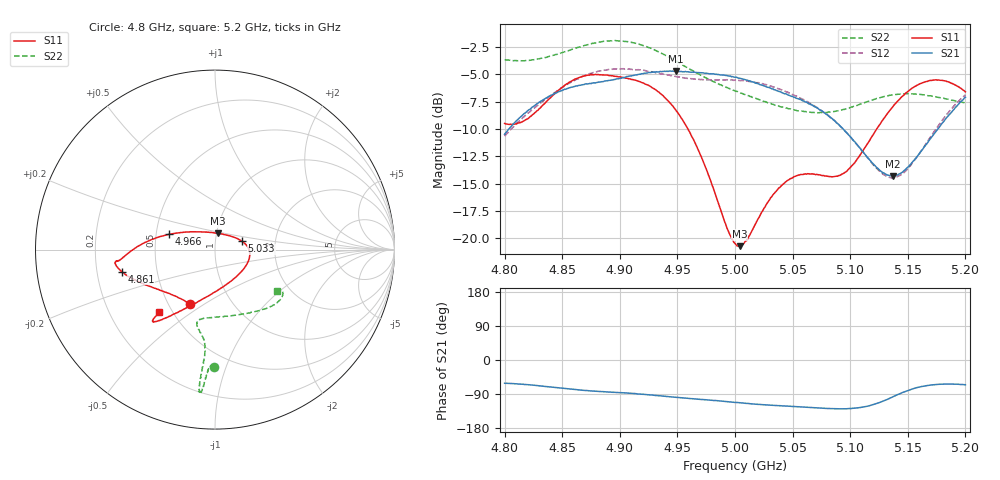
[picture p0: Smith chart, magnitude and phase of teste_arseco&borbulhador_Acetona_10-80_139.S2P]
! Network Analyzer HP8722D
! Hewlett-Packard
! Data name: Linha & Wilkinson
! Saver's name: Rodrigo Anjos
! Comments: Teste da utilização de aquisição
! continua pelo VNA HP8722D
! Time and date: 17/4/2025 15:31
!  Frequency  S11  S21  S12  S22
# HZ  S  MA R 50
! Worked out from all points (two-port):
!   401 points, 4.8 GHz to 5.2 GHz, reference 50 ohm
!   highest |S21| = -4.69 dB at 4.949 GHz (marker M1); lowest = -14.3 dB at 5.137 GHz (marker M2)
!   |S21| within 3 dB of the highest: 4.828 GHz to 5.064 GHz (235.7 MHz wide, 4.76 % of centre); 5.194352 GHz to end of sweep
!   lowest |S11| = -20.7 dB at 5.004 GHz (marker M3), VSWR 1.20, Z = 50.7 + j9.26 ohm
!   |S11| at or under -10 dB: 4.959 GHz to 5.123 GHz (163.9 MHz wide, 3.25 % of centre)
!   |S22| runs from -8.5 to -1.9 dB; largest |S21 - S12| = 0.87
!   S11 on the Smith chart (normalised r, x): 4.8 GHz: 0.64, -0.44; 4.861 GHz: 0.31, -0.11; 4.966 GHz: 0.59, +0.11; 5.033 GHz: 1.35, +0.13; 5.2 GHz: 0.42, -0.38
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4.8e9  0.3353 -114.6  0.2991 -61.4  0.2934 -175.5  0.6563 -90.6
4.819e9  0.3503 -134.7  0.3786 -64.8  0.3677 -174.5  0.6516 -92.2
4.861e9  0.5345 -166.7  0.4955 -77.9  0.5293 -177.8  0.7387 -94.5
4.867e9  0.5493 -169.0  0.5037 -79.9  0.5476 -178.8  0.7563 -94.7
4.898e9  0.5492 -173.2  0.5368 -85.6  0.5938 174.9  0.8008 -96.0
4.934e9  0.4663 -179.3  0.5774 -94.4  0.5699 171.0  0.7104 -96.4
4.949e9  0.3834 173.6  0.5831 -98.4  0.5486 171.5  0.6454 -96.0
4.966e9  0.2683 161.5  0.5734 -102.9  0.534 173.1  0.5734 -95.6
4.993e9  0.1112 118.7  0.5553 -110.0  0.5316 175.4  0.4895 -98.2
5e9  0.0946 95.6  0.5457 -112.0  0.5294 175.5  0.4723 -99.6
5.004e9  0.0918 80.6  0.5399 -112.9  0.5271 175.4  0.4649 -100.5
5.012e9  0.1017 54.0  0.5247 -114.8  0.5218 175.2  0.4487 -102.1
5.033e9  0.158 17.1  0.4823 -119.5  0.4918 173.9  0.4102 -103.5
5.05e9  0.1889 0.4  0.4459 -122.6  0.4542 173.4  0.3873 -99.1
5.067e9  0.1968 -17.8  0.4069 -125.6  0.4083 173.0  0.3761 -89.9
5.097e9  0.2025 -70.3  0.3036 -128.7  0.3036 174.7  0.3917 -66.4
5.121e9  0.3038 -107.9  0.216 -116.9  0.2138 -171.7  0.4327 -49.7
5.134e9  0.3822 -118.4  0.1934 -101.4  0.1896 -154.4  0.4507 -43.1
5.137e9  0.3994 -120.1  0.1924 -97.3  0.1895 -149.4  0.4533 -41.8
5.15e9  0.4691 -125.8  0.211 -80.6  0.2076 -130.3  0.4581 -37.0
5.17e9  0.5273 -130.2  0.2869 -66.1  0.2921 -112.3  0.4483 -32.4
5.2e9  0.4676 -131.6  0.4418 -65.3  0.4527 -107.4  0.4156 -34.0
